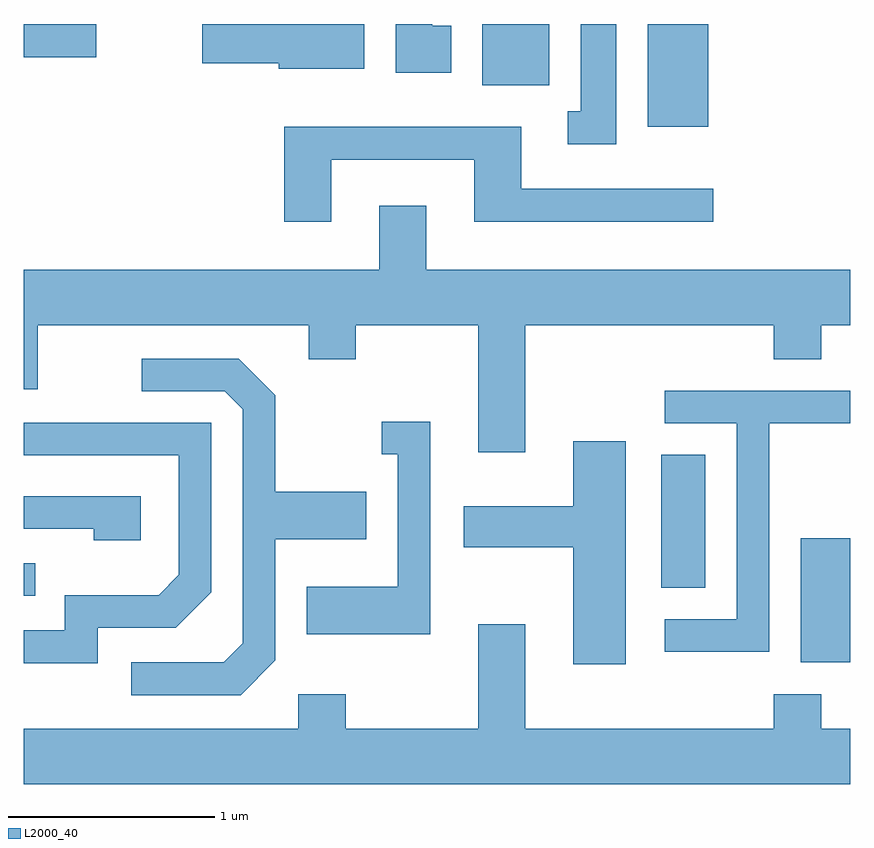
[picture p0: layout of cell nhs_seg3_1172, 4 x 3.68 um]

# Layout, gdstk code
import gdstk
lib = gdstk.Library(unit=1e-6, precision=1e-09)
def R(c, l, rs):  # rectangles x0, y0, x1, y1
    for r in rs: c.add(gdstk.rectangle(r[:2], r[2:], *l))
def P(c, l, *ps):  # polygons
    for p in ps: c.add(gdstk.Polygon(p, *l))
L2000_40 = (2000, 40)

nhs_seg3_1172 = lib.new_cell('nhs_seg3_1172')
R(nhs_seg3_1172, L2000_40, [(223.371,1148.806,223.611,1149.404), (219.611,1149.126,219.668,1149.284), (222.696,1149.166,222.909,1149.809), (222.631,1151.396,222.924,1151.892), (221.831,1151.596,222.154,1151.892), (219.611,1151.731,219.964,1151.892)])
P(nhs_seg3_1172, L2000_40, [(221.679,1151.884),(221.589,1151.884),(221.589,1151.892),(221.411,1151.892),(221.411,1151.656),(221.679,1151.656)],
  [(222.479,1151.892),(222.306,1151.892),(222.306,1151.469),(222.243,1151.469),(222.243,1151.311),(222.479,1151.311)],
  [(221.259,1151.892),(220.476,1151.892),(220.476,1151.701),(220.846,1151.701),(220.846,1151.676),(221.259,1151.676)],
  [(221.099,1151.236),(221.791,1151.236),(221.791,1150.936),(222.948,1150.936),(222.948,1151.094),(222.019,1151.094),(222.019,1151.394),(220.871,1151.394),(220.871,1150.936),(221.099,1150.936)],
  [(222.039,1150.436),(223.241,1150.436),(223.241,1150.271),(223.469,1150.271),(223.469,1150.436),(223.611,1150.436),(223.611,1150.704),(221.559,1150.704),(221.559,1151.014),(221.331,1151.014),(221.331,1150.704),(219.611,1150.704),(219.611,1150.126),(219.679,1150.126),(219.679,1150.436),(220.991,1150.436),(220.991,1150.271),(221.219,1150.271),(221.219,1150.436),(221.811,1150.436),(221.811,1149.821),(222.039,1149.821)],
  [(220.829,1148.814),(220.829,1149.401),(221.269,1149.401),(221.269,1149.629),(220.829,1149.629),(220.829,1150.097),(220.652,1150.274),(220.183,1150.274),(220.183,1150.116),(220.584,1150.116),(220.671,1150.029),(220.671,1148.897),(220.579,1148.804),(220.133,1148.804),(220.133,1148.646),(220.662,1148.646)],
  [(223.219,1149.961),(223.611,1149.961),(223.611,1150.119),(222.713,1150.119),(222.713,1149.961),(223.061,1149.961),(223.061,1149.014),(222.713,1149.014),(222.713,1148.856),(223.219,1148.856)],
  [(221.579,1149.969),(221.343,1149.969),(221.343,1149.811),(221.421,1149.811),(221.421,1149.169),(220.981,1149.169),(220.981,1148.941),(221.579,1148.941)],
  [(219.969,1148.971),(220.347,1148.971),(220.519,1149.144),(220.519,1149.964),(219.611,1149.964),(219.611,1149.806),(220.361,1149.806),(220.361,1149.227),(220.264,1149.129),(219.811,1149.129),(219.811,1148.959),(219.611,1148.959),(219.611,1148.801),(219.969,1148.801)],
  [(222.524,1149.874),(222.271,1149.874),(222.271,1149.559),(221.741,1149.559),(221.741,1149.361),(222.271,1149.361),(222.271,1148.796),(222.524,1148.796)],
  [(220.179,1149.609),(219.611,1149.609),(219.611,1149.451),(219.951,1149.451),(219.951,1149.396),(220.179,1149.396)],
  [(223.611,1148.484),(223.469,1148.484),(223.469,1148.649),(223.241,1148.649),(223.241,1148.484),(222.039,1148.484),(222.039,1148.989),(221.811,1148.989),(221.811,1148.484),(221.169,1148.484),(221.169,1148.649),(220.941,1148.649),(220.941,1148.484),(219.611,1148.484),(219.611,1148.216),(223.611,1148.216)])

lib.write_gds('nhs_seg3_1172.gds')
